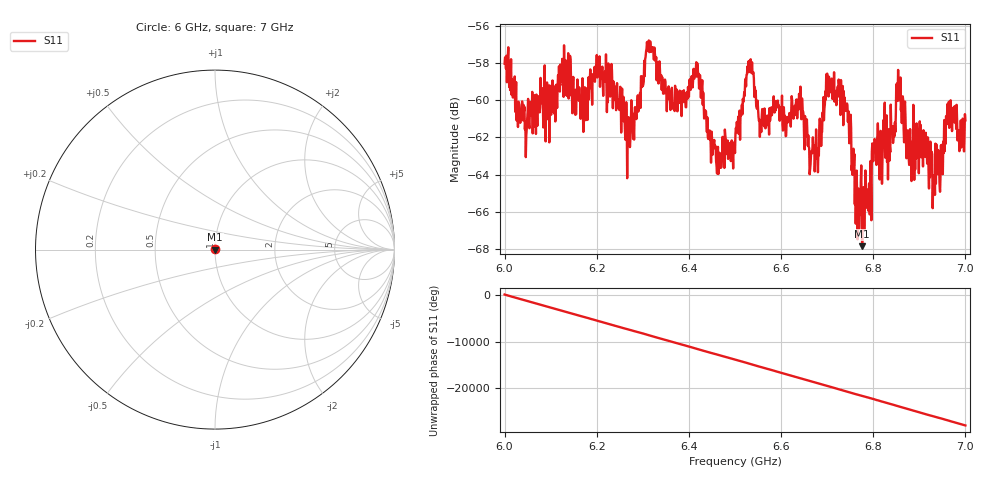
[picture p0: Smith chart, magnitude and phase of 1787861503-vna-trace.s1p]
! Created with skrf 1.10.0 (http://scikit-rf.org).
# Hz S RI R 50.0
!freq ReS11 ImS11
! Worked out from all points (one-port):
!   1001 points, 6 GHz to 7 GHz, reference 50 ohm
!   lowest |S11| = -67.9 dB at 6.776 GHz (marker M1), VSWR 1.00, Z = 50 - j0.0203 ohm
!   |S11| at or under -10 dB: start of sweep to end of sweep
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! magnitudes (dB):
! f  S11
! 6 GHz  -58.0
! 6.049 GHz  -61.0
! 6.125 GHz  -57.8
! 6.175 GHz  -59.8
! 6.203 GHz  -58.6
! 6.25 GHz  -60.2
! 6.276 GHz  -61.6
! 6.312 GHz  -56.9
! 6.375 GHz  -60.6
! 6.415 GHz  -58.3
! 6.463 GHz  -62.5
! 6.5 GHz  -62.8
! 6.532 GHz  -58.2
! 6.555 GHz  -61.1
! 6.625 GHz  -60.8
! 6.677 GHz  -62.9
! 6.703 GHz  -59.8
! 6.729 GHz  -60.8
! 6.75 GHz  -62.3
! 6.765 GHz  -65.1
! 6.776 GHz  -67.9
! 6.807 GHz  -63.5
! 6.844 GHz  -62.0
! 6.854 GHz  -58.4
! 6.875 GHz  -61.6
! 6.934 GHz  -65.1
! 6.963 GHz  -61.3
! 7 GHz  -61.1
